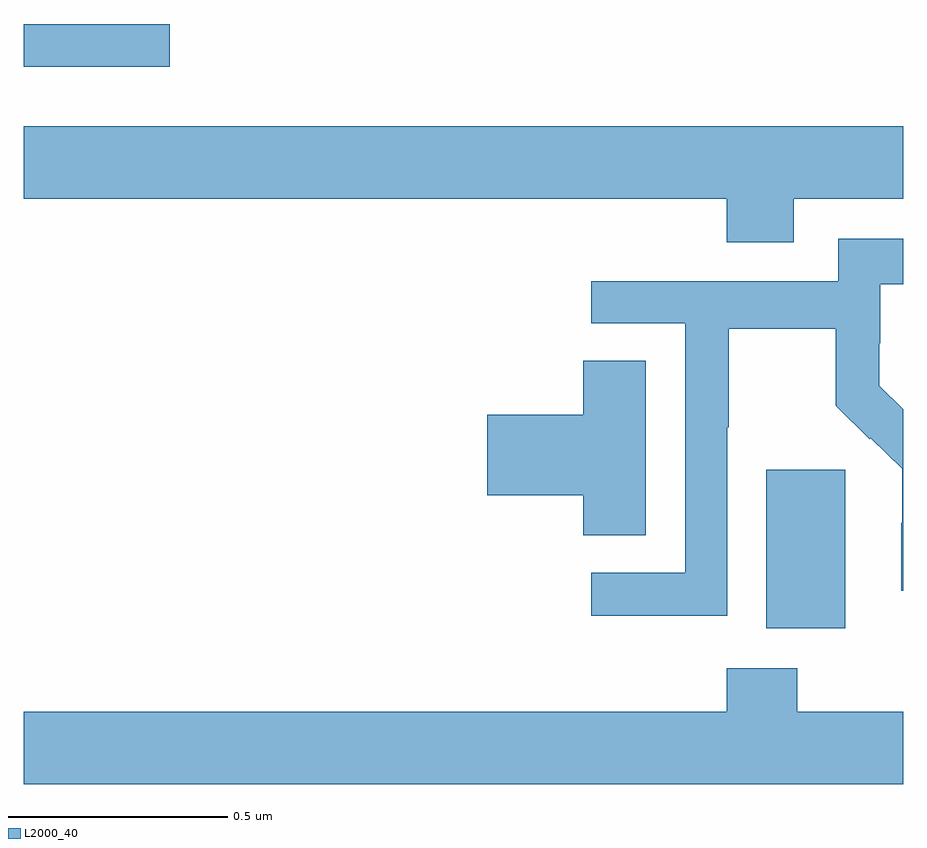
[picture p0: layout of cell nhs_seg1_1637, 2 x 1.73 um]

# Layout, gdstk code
import gdstk
lib = gdstk.Library(unit=1e-6, precision=1e-09)
def R(c, l, rs):  # rectangles x0, y0, x1, y1
    for r in rs: c.add(gdstk.rectangle(r[:2], r[2:], *l))
def P(c, l, *ps):  # polygons
    for p in ps: c.add(gdstk.Polygon(p, *l))
L2000_40 = (2000, 40)

nhs_seg1_1637 = lib.new_cell('nhs_seg1_1637')
R(nhs_seg1_1637, L2000_40, [(132.689,558.746,132.868,559.107), (131,560.024,131.332,560.121)])
P(nhs_seg1_1637, L2000_40, [(132.751,559.724),(133,559.724),(133,559.888),(131,559.888),(131,559.724),(132.599,559.724),(132.599,559.625),(132.751,559.625)],
  [(132.6,559.204),(132.603,559.204),(132.603,559.428),(132.847,559.428),(132.847,559.253),(132.924,559.176),(132.927,559.179),(132.998,559.109),(132.998,558.986),(132.996,558.986),(132.996,558.832),(133,558.832),(133,559.244),(132.946,559.298),(132.946,559.395),(132.948,559.395),(132.948,559.529),(133,559.529),(133,559.633),(132.852,559.633),(132.852,559.536),(132.291,559.536),(132.291,559.44),(132.504,559.44),(132.504,558.873),(132.291,558.873),(132.291,558.775),(132.6,558.775)],
  [(132.415,559.355),(132.272,559.355),(132.272,559.232),(132.054,559.232),(132.054,559.049),(132.272,559.049),(132.272,558.958),(132.415,558.958)],
  [(133,558.556),(132.759,558.556),(132.759,558.655),(132.599,558.655),(132.599,558.556),(131,558.556),(131,558.392),(133,558.392)])

lib.write_gds('nhs_seg1_1637.gds')
